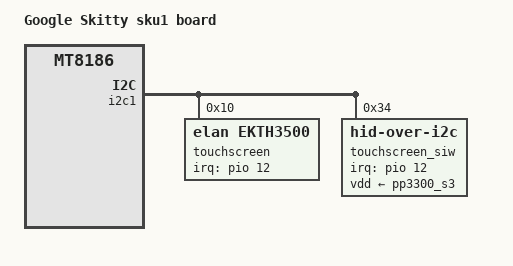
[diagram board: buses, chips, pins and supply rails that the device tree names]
// SPDX-License-Identifier: (GPL-2.0 OR MIT)
/*
 * Copyright 2024 Google LLC
 */

/dts-v1/;
#include "mt8186-corsola-skitty.dtsi"

/ {
	model = "Google Skitty sku1 board";
	compatible = "google,skitty-sku1",
		"google,skitty", "google,corsola", "mediatek,mt8186";
};

&i2c1 {
	/delete-node/ touchscreen@10;
	touchscreen: touchscreen@10 {
		compatible = "elan,ekth3500";
		reg = <0x10>;
		interrupts-extended = <&pio 12 IRQ_TYPE_LEVEL_LOW>;
		status = "okay";
	};

	touchscreen_siw: touchscreen@34 {
		compatible = "hid-over-i2c";
		reg = <0x34>;
		interrupts-extended = <&pio 12 IRQ_TYPE_LEVEL_LOW>;
		pinctrl-names = "default";
		pinctrl-0 = <&touchscreen_pins>;
		post-power-on-delay-ms = <150>;
		hid-descr-addr = <0x0001>;
		vdd-supply = <&pp3300_s3>;
		status = "okay";
	};
};
